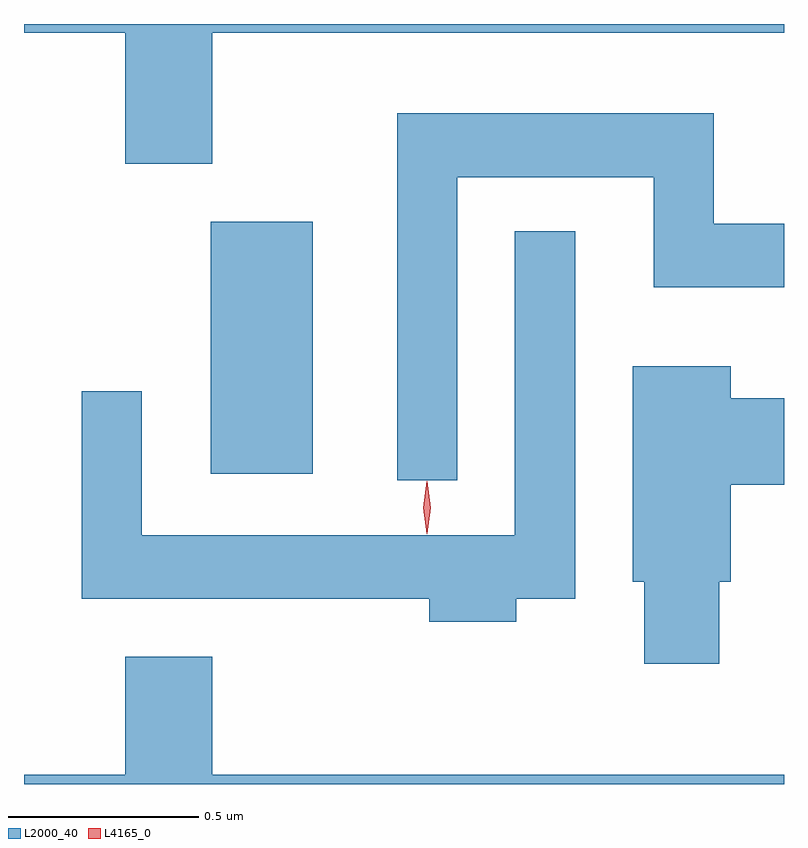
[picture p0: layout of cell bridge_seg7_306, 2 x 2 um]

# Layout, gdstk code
import gdstk
lib = gdstk.Library(unit=1e-6, precision=1e-09)
def R(c, l, rs):  # rectangles x0, y0, x1, y1
    for r in rs: c.add(gdstk.rectangle(r[:2], r[2:], *l))
def P(c, l, *ps):  # polygons
    for p in ps: c.add(gdstk.Polygon(p, *l))
L2000_40 = (2000, 40)
L4165_0 = (4165, 0)

bridge_seg7_306 = lib.new_cell('bridge_seg7_306')
R(bridge_seg7_306, L2000_40, [(1280.496,1801.956,1280.764,1802.619)])
P(bridge_seg7_306, L2000_40, [(1280.499,1803.116),(1282.004,1803.116),(1282.004,1803.139),(1280.004,1803.139),(1280.004,1803.116),(1280.271,1803.116),(1280.271,1802.771),(1280.499,1802.771)],
  [(1281.144,1802.736),(1281.661,1802.736),(1281.661,1802.446),(1282.004,1802.446),(1282.004,1802.614),(1281.819,1802.614),(1281.819,1802.904),(1280.986,1802.904),(1280.986,1801.938),(1281.144,1801.938)],
  [(1281.299,1801.626),(1281.454,1801.626),(1281.454,1802.593),(1281.296,1802.593),(1281.296,1801.794),(1280.314,1801.794),(1280.314,1802.173),(1280.156,1802.173),(1280.156,1801.626),(1281.071,1801.626),(1281.071,1801.566),(1281.299,1801.566)],
  [(1281.834,1801.671),(1281.864,1801.671),(1281.864,1801.926),(1282.004,1801.926),(1282.004,1802.154),(1281.864,1802.154),(1281.864,1802.239),(1281.606,1802.239),(1281.606,1801.671),(1281.636,1801.671),(1281.636,1801.456),(1281.834,1801.456)],
  [(1282.004,1801.164),(1280.499,1801.164),(1280.499,1801.474),(1280.271,1801.474),(1280.271,1801.164),(1280.004,1801.164),(1280.004,1801.139),(1282.004,1801.139)])
P(bridge_seg7_306, L4165_0, [(1281.065,1801.799),(1281.064,1801.8),(1281.055,1801.866),(1281.064,1801.932),(1281.065,1801.933),(1281.065,1801.932),(1281.075,1801.866),(1281.065,1801.8)],
  [(1281.064,1801.797),(1281.055,1801.866),(1281.064,1801.936),(1281.065,1801.936),(1281.065,1801.936),(1281.075,1801.866),(1281.065,1801.797),(1281.065,1801.797)])

lib.write_gds('bridge_seg7_306.gds')
